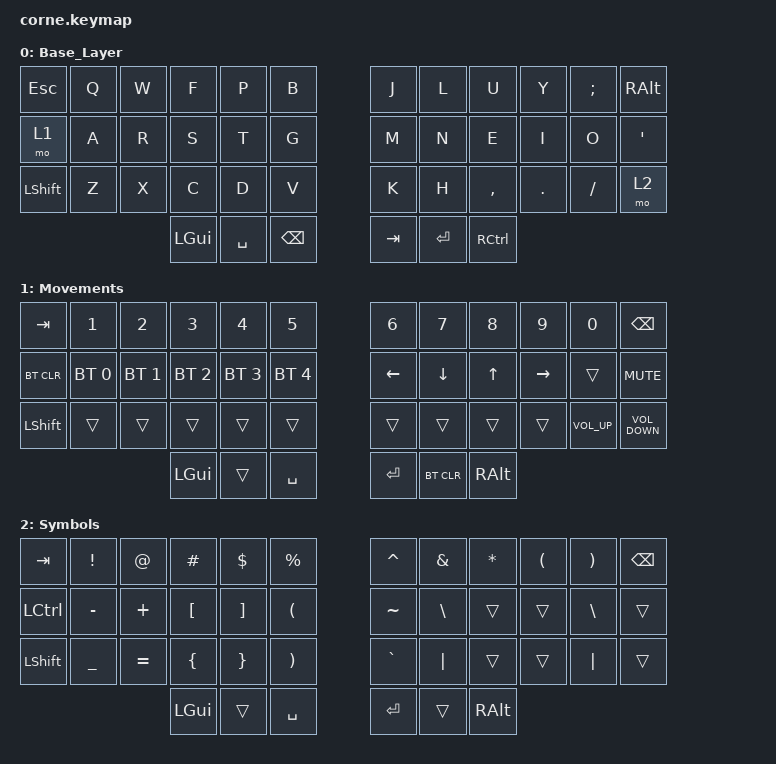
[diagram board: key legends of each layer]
/*
 * Copyright (c) 2020 The ZMK Contributors
 *
 * SPDX-License-Identifier: MIT
 */

#include <behaviors.dtsi>
#include <dt-bindings/zmk/bt.h>
#include <dt-bindings/zmk/keys.h>

/ {
    keymap {
        compatible = "zmk,keymap";

        Base_Layer {
            bindings = <
&kp ESCAPE  &kp Q  &kp W  &kp F     &kp P      &kp B            &kp J    &kp L      &kp U      &kp Y    &kp SEMICOLON  &kp RALT
&mo 1       &kp A  &kp R  &kp S     &kp T      &kp G            &kp M    &kp N      &kp E      &kp I    &kp O          &kp SQT
&kp LSHFT   &kp Z  &kp X  &kp C     &kp D      &kp V            &kp K    &kp H      &kp COMMA  &kp DOT  &kp FSLH       &mo 2
                          &kp LGUI  &kp SPACE  &kp BACKSPACE    &kp TAB  &kp ENTER  &kp RCTRL
            >;
        };

        Movements {
            // -----------------------------------------------------------------------------------------
            // |  TAB |  1  |  2  |  3  |  4  |  5  |   |  6  |  7  |  8  |  9  |  0  | BKSP |
            // | BTCLR| BT1 | BT2 | BT3 | BT4 | BT5 |   | LFT | DWN |  UP | RGT |     |      |
            // | SHFT |     |     |     |     |     |   |     |     |     |     |     |      |
            //                    | GUI |     | SPC |   | ENT |     | ALT |

            bindings = <
&kp TAB     &kp N1        &kp N2        &kp N3        &kp N4        &kp N5          &kp N6    &kp N7      &kp N8    &kp N9     &kp N0           &kp BSPC
&bt BT_CLR  &bt BT_SEL 0  &bt BT_SEL 1  &bt BT_SEL 2  &bt BT_SEL 3  &bt BT_SEL 4    &kp LEFT  &kp DOWN    &kp UP    &kp RIGHT  &trans           &kp K_MUTE
&kp LSHFT   &trans        &trans        &trans        &trans        &trans          &trans    &trans      &trans    &trans     &kp C_VOLUME_UP  &kp C_VOLUME_DOWN
                                        &kp LGUI      &trans        &kp SPACE       &kp RET   &bt BT_CLR  &kp RALT
            >;
        };

        Symbols {
            // -----------------------------------------------------------------------------------------
            // |  TAB |  !  |  @  |  #  |  $  |  %  |   |  ^  |  &  |  *  |  (  |  )  | BKSP |
            // | CTRL |     |     |     |     |     |   |  -  |  =  |  [  |  ]  |  \  |  `   |
            // | SHFT |     |     |     |     |     |   |  _  |  +  |  {  |  }  | "|" |  ~   |
            //                    | GUI |     | SPC |   | ENT |     | ALT |

            bindings = <
&kp TAB    &kp EXCL        &kp AT     &kp HASH          &kp DLLR           &kp PRCNT                &kp CARET  &kp AMPS       &kp ASTRK  &kp LPAR  &kp RPAR  &kp BSPC
&kp LCTRL  &kp MINUS       &kp PLUS   &kp LEFT_BRACKET  &kp RIGHT_BRACKET  &kp LEFT_PARENTHESIS     &kp TILDE  &kp BACKSLASH  &trans     &trans    &kp BSLH  &trans
&kp LSHFT  &kp UNDERSCORE  &kp EQUAL  &kp LEFT_BRACE    &kp RIGHT_BRACE    &kp RIGHT_PARENTHESIS    &kp GRAVE  &kp PIPE       &trans     &trans    &kp PIPE  &trans
                                      &kp LGUI          &trans             &kp SPACE                &kp RET    &trans         &kp RALT
            >;
        };
    };
};
